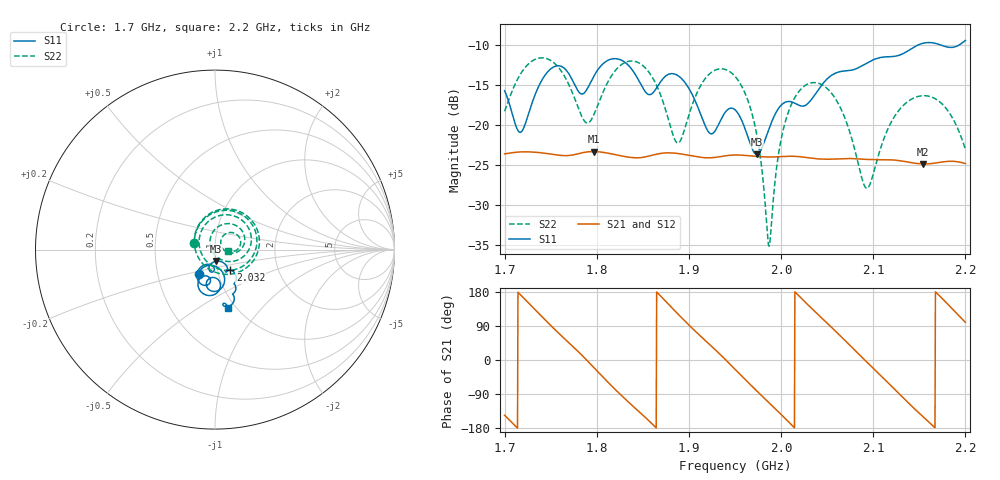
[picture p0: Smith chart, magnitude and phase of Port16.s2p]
# Hz S RI R 50
! CMT, CMT808U, 21440046, 21.4.3/4
! Date: 11/17/2025 2:56:04 PM
! Data: Format (Calibration Info)
! Freq	S11:Re/Im(F2)	S41:Re/Im(F2)	S14:Re/Im(F2)	S44:Re/Im(F2)
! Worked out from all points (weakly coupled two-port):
!   1001 points, 1.7 GHz to 2.2 GHz, reference 50 ohm
!   highest |S21| = -23.32 dB at 1.796 GHz (marker M1); lowest = -24.9 dB at 2.154 GHz (marker M2)
!   lowest |S11| = -23.7 dB at 1.974 GHz (marker M3), VSWR 1.14, Z = 50.3 - j6.57 ohm
!   |S11| at or under -10 dB: start of sweep to 2.15 GHz; 2.172 GHz to 2.194 GHz (22.25 MHz wide, 1.02 % of centre)
!   |S22| runs from -35.1 to -11.7 dB; largest |S21 - S12| = 0.00019
!   S11 on the Smith chart (normalised r, x): 1.7 GHz: 0.81, -0.23; 2.032 GHz: 1.15, -0.27; 2.2 GHz: 0.91, -0.68
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1.7e9  -0.0887 -0.1369  -0.0546 -0.0371  -0.0547 -0.037  -0.115 0.0394
1.7175e9  -0.0104 -0.0893  -0.0671 0.0102  -0.0671 0.0104  -0.0161 0.2077
1.7415e9  0.051 -0.1875  -0.0246 0.0621  -0.0246 0.0622  0.2221 0.1375
1.761e9  -0.0195 -0.231  0.0268 0.0587  0.0269 0.0588  0.2059 -0.0718
1.7835e9  -0.0111 -0.1552  0.065 0.0159  0.065 0.0158  -0.0337 -0.1085
1.7965e9  0.0307 -0.1969  0.0644 -0.0225  0.0644 -0.0226  -0.1133 0.0166
1.832e9  -0.0851 -0.2261  -0.017 -0.0609  -0.0171 -0.0609  0.1543 0.192
1.855e9  -0.0539 -0.1461  -0.0584 -0.0252  -0.0585 -0.0251  0.2174 -0.0229
1.867e9  -0.0251 -0.1756  -0.0658 0.00631  -0.0658 0.00641  0.1271 -0.106
1.8885e9  -0.0887 -0.1812  -0.0334 0.0572  -0.0334 0.0573  -0.0685 -0.0355
1.923e9  -0.0318 -0.0825  0.0481 0.0398  0.0482 0.0397  0.0809 0.193
1.95e9  -0.028 -0.121  0.0591 -0.0268  0.0591 -0.0269  0.1988 0.0261
1.9735e9  0.00752 -0.065  0.00954 -0.0629  0.00943 -0.0629  0.0595 -0.0642
1.987e9  0.0539 -0.0781  -0.0246 -0.0581  -0.0248 -0.0581  -0.0158 -0.00761
2.004e9  0.0673 -0.1203  -0.0568 -0.0287  -0.0569 -0.0286  -0.00937 0.1014
2.032e9  0.0856 -0.113  -0.0468 0.0408  -0.0467 0.0409  0.1369 0.1203
2.0335e9  0.0896 -0.1144  -0.0441 0.0435  -0.044 0.0436  0.1426 0.1146
2.063e9  0.1128 -0.1816  0.0243 0.0565  0.0243 0.0565  0.1323 -0.00835
2.0925e9  0.1158 -0.2116  0.0608 -0.00434  0.0608 -0.00444  0.0376 0.0146
2.117e9  0.0992 -0.2463  0.0281 -0.0537  0.028 -0.0538  0.0517 0.0826
2.1535e9  0.0898 -0.3087  -0.0486 -0.0299  -0.0487 -0.0298  0.1365 0.0664
2.2e9  0.0709 -0.3277  -0.00936 0.0566  -0.00926 0.0567  0.0702 -0.00661
